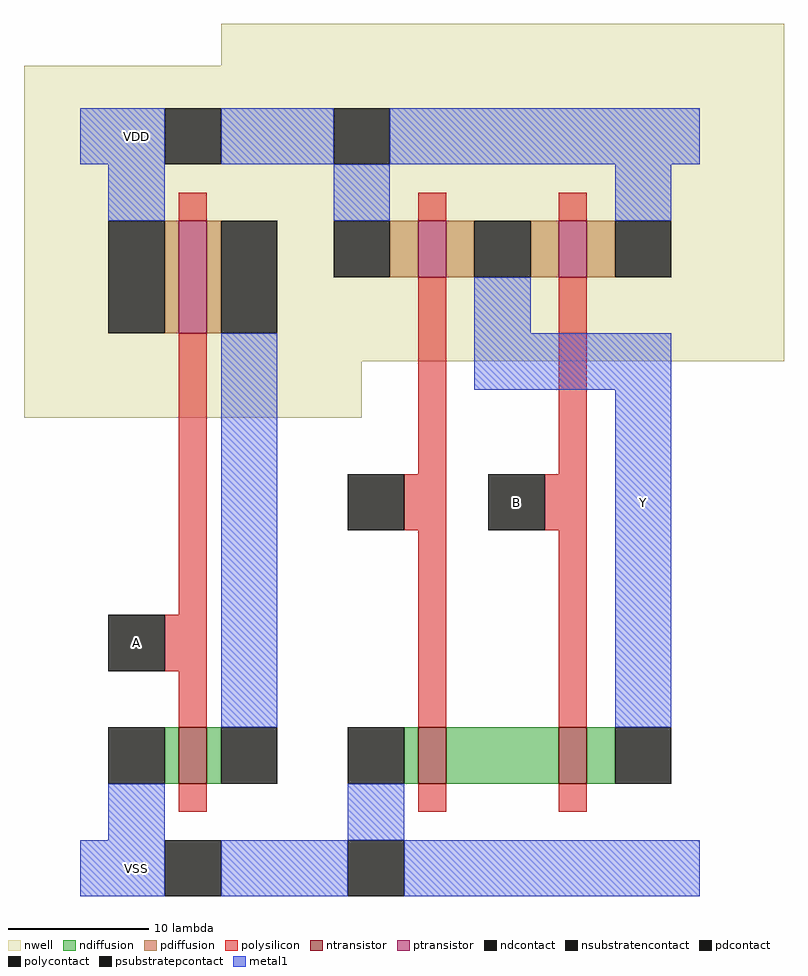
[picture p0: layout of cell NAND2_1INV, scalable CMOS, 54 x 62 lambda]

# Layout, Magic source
magic
tech scmos
use INV  INV_0 ~/cmpe480-s24/PVA
transform 1 0 4 0 1 -1
box -4 0 20 59
use NAND2  NAND2_0
transform 1 0 20 0 1 -1
box -6 0 34 62
<< labels >>
rlabel polycontact 8 17 8 17 1 A
rlabel polycontact 35 27 35 27 1 B
rlabel metal1 44 27 44 27 1 Y
rlabel metal1 8 53 8 53 1 VDD
rlabel metal1 8 1 8 1 1 VSS
<< end >>

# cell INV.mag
magic
tech scmos
<< nwell >>
rect -4 34 20 59
<< ntransistor >>
rect 7 8 9 12
<< ptransistor >>
rect 7 40 9 48
<< ndiffusion >>
rect 6 8 7 12
rect 9 8 10 12
<< pdiffusion >>
rect 6 40 7 48
rect 9 40 10 48
<< ndcontact >>
rect 2 8 6 12
rect 10 8 14 12
<< pdcontact >>
rect 2 40 6 48
rect 10 40 14 48
<< psubstratepcontact >>
rect 6 0 10 4
<< nsubstratencontact >>
rect 6 52 10 56
<< polysilicon >>
rect 7 48 9 50
rect 7 20 9 40
rect 6 16 9 20
rect 7 12 9 16
rect 7 6 9 8
<< polycontact >>
rect 2 16 6 20
<< metal1 >>
rect 0 52 6 56
rect 10 52 16 56
rect 2 48 6 52
rect 10 12 14 40
rect 2 4 6 8
rect 0 0 6 4
rect 10 0 16 4
<< labels >>
rlabel metal1 4 2 4 2 1 VSS
rlabel polycontact 4 18 4 18 1 A
rlabel metal1 12 18 12 18 1 Y
rlabel metal1 4 54 4 54 1 VDD
<< end >>

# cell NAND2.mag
magic
tech scmos
<< nwell >>
rect -6 38 34 62
<< ntransistor >>
rect 8 8 10 12
rect 18 8 20 12
<< ptransistor >>
rect 8 44 10 48
rect 18 44 20 48
<< ndiffusion >>
rect 7 8 8 12
rect 10 8 18 12
rect 20 8 22 12
<< pdiffusion >>
rect 6 44 8 48
rect 10 44 12 48
rect 16 44 18 48
rect 20 44 22 48
<< ndcontact >>
rect 3 8 7 12
rect 22 8 26 12
<< pdcontact >>
rect 2 44 6 48
rect 12 44 16 48
rect 22 44 26 48
<< psubstratepcontact >>
rect 3 0 7 4
<< nsubstratencontact >>
rect 2 52 6 56
<< polysilicon >>
rect 8 48 10 50
rect 18 48 20 50
rect 8 30 10 44
rect 18 30 20 44
rect 7 26 10 30
rect 17 26 20 30
rect 8 12 10 26
rect 18 12 20 26
rect 8 6 10 8
rect 18 6 20 8
<< polycontact >>
rect 3 26 7 30
rect 13 26 17 30
<< metal1 >>
rect 0 52 2 56
rect 6 52 28 56
rect 2 48 6 52
rect 22 48 26 52
rect 12 40 16 44
rect 12 36 26 40
rect 22 12 26 36
rect 3 4 7 8
rect 0 0 3 4
rect 7 0 28 4
<< labels >>
rlabel psubstratepcontact 5 2 5 2 1 VSS
rlabel polycontact 5 28 5 28 1 A
rlabel polycontact 15 28 15 28 1 B
rlabel metal1 24 28 24 28 1 Y
rlabel nsubstratencontact 4 54 4 54 1 VDD
<< end >>
